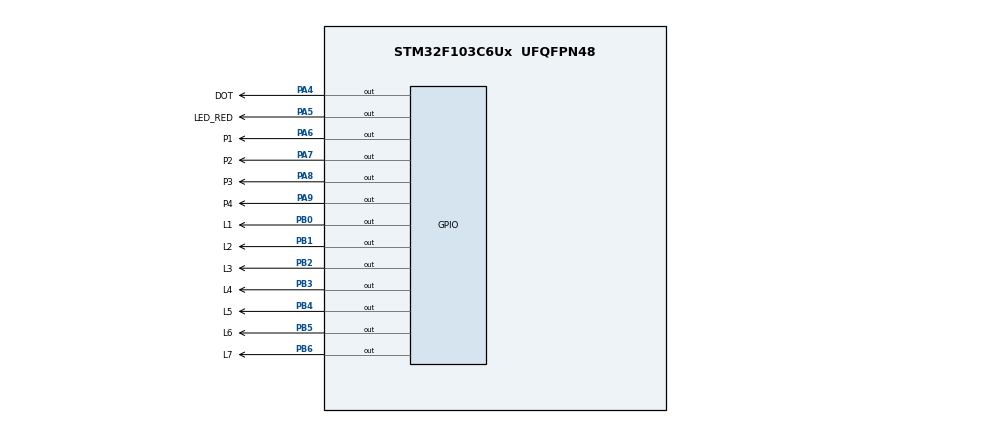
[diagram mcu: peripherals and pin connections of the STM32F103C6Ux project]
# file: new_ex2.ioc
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Mcu.Family=STM32F1
Mcu.Name=STM32F103C6Ux
Mcu.Package=UFQFPN48
NVIC.PriorityGroup=NVIC_PRIORITYGROUP_4
NVIC.TIM2_IRQn=true\:0\:0\:false\:false\:true\:true\:true
PA4.GPIO_Label=DOT
PA4.Signal=GPIO_Output
PA5.GPIO_Label=LED_RED
PA5.Signal=GPIO_Output
PA6.GPIO_Label=P1
PA6.Signal=GPIO_Output
PA7.GPIO_Label=P2
PA7.Signal=GPIO_Output
PA8.GPIO_Label=P3
PA8.Signal=GPIO_Output
PA9.GPIO_Label=P4
PA9.Signal=GPIO_Output
PB0.GPIO_Label=L1
PB0.Signal=GPIO_Output
PB1.GPIO_Label=L2
PB1.Signal=GPIO_Output
PB2.GPIO_Label=L3
PB2.Signal=GPIO_Output
PB3.GPIO_Label=L4
PB3.Signal=GPIO_Output
PB4.GPIO_Label=L5
PB4.Signal=GPIO_Output
PB5.GPIO_Label=L6
PB5.Signal=GPIO_Output
PB6.GPIO_Label=L7
PB6.Signal=GPIO_Output
ProjectManager.HeapSize=0x200
ProjectManager.StackSize=0x400
ProjectManager.TargetToolchain=STM32CubeIDE
RCC.APB1Freq_Value=8000000
RCC.APB2Freq_Value=8000000
TIM2.Period=9
TIM2.Prescaler=7999
VP_SYS_VS_ND.Mode=No_Debug
VP_TIM2_VS_ClockSourceINT.Mode=Internal
board=custom

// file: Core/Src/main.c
/* USER CODE BEGIN Header */
/**
  ******************************************************************************
  * @file           : main.c
  * @brief          : Main program body
  ******************************************************************************
  * @attention
  *
  * <h2><center>&copy; Copyright (c) 2022 STMicroelectronics.
  * All rights reserved.</center></h2>
  *
  * This software component is licensed by ST under BSD 3-Clause license,
  * the "License"; You may not use this file except in compliance with the
  * License. You may obtain a copy of the License at:
  *                        opensource.org/licenses/BSD-3-Clause
  *
  ******************************************************************************
  */
/* USER CODE END Header */
#include "main.h"

/* USER CODE BEGIN Includes */
#include "software_timer.h"
/* USER CODE END Includes */

TIM_HandleTypeDef htim2;

void SystemClock_Config(void);
static void MX_GPIO_Init(void);
static void MX_TIM2_Init(void);

/* USER CODE BEGIN 0 */
void display7SEG(int num){
  	  HAL_GPIO_WritePin( L1_GPIO_Port , L1_Pin ,GPIO_PIN_SET );
  	  HAL_GPIO_WritePin( L2_GPIO_Port , L2_Pin ,GPIO_PIN_SET );
  	  HAL_GPIO_WritePin( L3_GPIO_Port , L3_Pin ,GPIO_PIN_SET );
  	  HAL_GPIO_WritePin( L4_GPIO_Port , L4_Pin ,GPIO_PIN_SET );
  	  HAL_GPIO_WritePin( L5_GPIO_Port , L5_Pin ,GPIO_PIN_SET );
  	  HAL_GPIO_WritePin( L6_GPIO_Port , L6_Pin ,GPIO_PIN_SET );
  	  HAL_GPIO_WritePin( L7_GPIO_Port , L7_Pin ,GPIO_PIN_SET );
  	  if(num<=0){
  		  HAL_GPIO_WritePin( L1_GPIO_Port , L1_Pin ,GPIO_PIN_RESET );
  		  HAL_GPIO_WritePin( L2_GPIO_Port , L2_Pin ,GPIO_PIN_RESET );
  		  HAL_GPIO_WritePin( L3_GPIO_Port , L3_Pin ,GPIO_PIN_RESET );
  		  HAL_GPIO_WritePin( L4_GPIO_Port , L4_Pin ,GPIO_PIN_RESET );
  		  HAL_GPIO_WritePin( L5_GPIO_Port , L5_Pin ,GPIO_PIN_RESET );
  		  HAL_GPIO_WritePin( L6_GPIO_Port , L6_Pin ,GPIO_PIN_RESET );
  	  }
  	  else if(num==1){
  		  HAL_GPIO_WritePin( L2_GPIO_Port , L2_Pin ,GPIO_PIN_RESET );
  		  HAL_GPIO_WritePin( L3_GPIO_Port , L3_Pin ,GPIO_PIN_RESET );
  	  }
  	  else if(num==2){
  		  HAL_GPIO_WritePin( L1_GPIO_Port , L1_Pin ,GPIO_PIN_RESET );
  		  HAL_GPIO_WritePin( L2_GPIO_Port , L2_Pin ,GPIO_PIN_RESET );
  		  HAL_GPIO_WritePin( L4_GPIO_Port , L4_Pin ,GPIO_PIN_RESET );
  		  HAL_GPIO_WritePin( L5_GPIO_Port , L5_Pin ,GPIO_PIN_RESET );
  		  HAL_GPIO_WritePin( L7_GPIO_Port , L7_Pin ,GPIO_PIN_RESET );
  	  }
  	  else if(num==3){
  		  HAL_GPIO_WritePin( L1_GPIO_Port , L1_Pin ,GPIO_PIN_RESET );
  		  HAL_GPIO_WritePin( L2_GPIO_Port , L2_Pin ,GPIO_PIN_RESET );
  		  HAL_GPIO_WritePin( L3_GPIO_Port , L3_Pin ,GPIO_PIN_RESET );
  		  HAL_GPIO_WritePin( L4_GPIO_Port , L4_Pin ,GPIO_PIN_RESET );
  		  HAL_GPIO_WritePin( L7_GPIO_Port , L7_Pin ,GPIO_PIN_RESET );
  	  }
  	  else if(num==4){
  		  HAL_GPIO_WritePin( L2_GPIO_Port , L2_Pin ,GPIO_PIN_RESET );
  		  HAL_GPIO_WritePin( L3_GPIO_Port , L3_Pin ,GPIO_PIN_RESET );
  		  HAL_GPIO_WritePin( L6_GPIO_Port , L6_Pin ,GPIO_PIN_RESET );
  		  HAL_GPIO_WritePin( L7_GPIO_Port , L7_Pin ,GPIO_PIN_RESET );
  	  }
  	  else if(num==5){
  		  HAL_GPIO_WritePin( L1_GPIO_Port , L1_Pin ,GPIO_PIN_RESET );
  		  HAL_GPIO_WritePin( L3_GPIO_Port , L3_Pin ,GPIO_PIN_RESET );
  		  HAL_GPIO_WritePin( L4_GPIO_Port , L4_Pin ,GPIO_PIN_RESET );
  		  HAL_GPIO_WritePin( L6_GPIO_Port , L6_Pin ,GPIO_PIN_RESET );
  		  HAL_GPIO_WritePin( L7_GPIO_Port , L7_Pin ,GPIO_PIN_RESET );
  	  }
  	  else if(num==6){
  		  HAL_GPIO_WritePin( L1_GPIO_Port , L1_Pin ,GPIO_PIN_RESET );
  		  HAL_GPIO_WritePin( L3_GPIO_Port , L3_Pin ,GPIO_PIN_RESET );
  		  HAL_GPIO_WritePin( L4_GPIO_Port , L4_Pin ,GPIO_PIN_RESET );
  		  HAL_GPIO_WritePin( L5_GPIO_Port , L5_Pin ,GPIO_PIN_RESET );
  		  HAL_GPIO_WritePin( L6_GPIO_Port , L6_Pin ,GPIO_PIN_RESET );
  		  HAL_GPIO_WritePin( L7_GPIO_Port , L7_Pin ,GPIO_PIN_RESET );
  	  }
  	  else if(num==7){
  		  HAL_GPIO_WritePin( L1_GPIO_Port , L1_Pin ,GPIO_PIN_RESET );
  		  HAL_GPIO_WritePin( L2_GPIO_Port , L2_Pin ,GPIO_PIN_RESET );
  		  HAL_GPIO_WritePin( L3_GPIO_Port , L3_Pin ,GPIO_PIN_RESET );
  	  }
  	  else if(num==8){
  		  HAL_GPIO_WritePin( L1_GPIO_Port , L1_Pin ,GPIO_PIN_RESET );
  		  HAL_GPIO_WritePin( L2_GPIO_Port , L2_Pin ,GPIO_PIN_RESET );
  		  HAL_GPIO_WritePin( L3_GPIO_Port , L3_Pin ,GPIO_PIN_RESET );
  		  HAL_GPIO_WritePin( L4_GPIO_Port , L4_Pin ,GPIO_PIN_RESET );
  		  HAL_GPIO_WritePin( L5_GPIO_Port , L5_Pin ,GPIO_PIN_RESET );
  		  HAL_GPIO_WritePin( L6_GPIO_Port , L6_Pin ,GPIO_PIN_RESET );
  		  HAL_GPIO_WritePin( L7_GPIO_Port , L7_Pin ,GPIO_PIN_RESET );
  	  }
  	  else if(num==9){
  		  HAL_GPIO_WritePin( L1_GPIO_Port , L1_Pin ,GPIO_PIN_RESET );
  		  HAL_GPIO_WritePin( L2_GPIO_Port , L2_Pin ,GPIO_PIN_RESET );
  		  HAL_GPIO_WritePin( L3_GPIO_Port , L3_Pin ,GPIO_PIN_RESET );
  		  HAL_GPIO_WritePin( L4_GPIO_Port , L4_Pin ,GPIO_PIN_RESET );
  		  HAL_GPIO_WritePin( L6_GPIO_Port , L6_Pin ,GPIO_PIN_RESET );
  		  HAL_GPIO_WritePin( L7_GPIO_Port , L7_Pin ,GPIO_PIN_RESET );
  	  }
    }
/* USER CODE END 0 */

int main(void)
{

  /* MCU Configuration--------------------------------------------------------*/

  /* Reset of all peripherals, Initializes the Flash interface and the Systick. */
  HAL_Init();

  /* Configure the system clock */
  SystemClock_Config();

  /* Initialize all configured peripherals */
  MX_GPIO_Init();
  MX_TIM2_Init();
  /* USER CODE BEGIN 2 */
  HAL_TIM_Base_Start_IT (&htim2);
  /* USER CODE END 2 */

  /* Infinite loop */
  /* USER CODE BEGIN WHILE */
    int status = 0;
    HAL_GPIO_WritePin(LED_RED_GPIO_Port, LED_RED_Pin, GPIO_PIN_SET);
    HAL_GPIO_WritePin(DOT_GPIO_Port, DOT_Pin, GPIO_PIN_SET);
    HAL_GPIO_WritePin(P1_GPIO_Port, P1_Pin, GPIO_PIN_SET);
    HAL_GPIO_WritePin(P2_GPIO_Port, P2_Pin, GPIO_PIN_SET);
    HAL_GPIO_WritePin(P3_GPIO_Port, P3_Pin, GPIO_PIN_SET);
    HAL_GPIO_WritePin(P4_GPIO_Port, P4_Pin, GPIO_PIN_SET);

    setTimer1(50);
    setTimer2(100);
    while (1)
    {
  	  /* USER CODE BEGIN 3 */
  	  if(timer1_flag == 1){
  		  setTimer1(50);
  		  HAL_GPIO_TogglePin(LED_RED_GPIO_Port, LED_RED_Pin);
  		  if(status == 0){
  			  HAL_GPIO_WritePin(P4_GPIO_Port, P4_Pin, GPIO_PIN_SET);
  			  display7SEG(1);
  			  HAL_GPIO_WritePin(P1_GPIO_Port, P1_Pin, GPIO_PIN_RESET);
  		  }
  		  else if(status == 1){
  			  HAL_GPIO_WritePin(P1_GPIO_Port, P1_Pin, GPIO_PIN_SET);
  			  display7SEG(2);
  			  HAL_GPIO_WritePin(P2_GPIO_Port, P2_Pin, GPIO_PIN_RESET);
  		  }
  		  else if(status == 2){
  			  HAL_GPIO_WritePin(P2_GPIO_Port, P2_Pin, GPIO_PIN_SET);
  			  display7SEG(3);
  			  HAL_GPIO_WritePin(P3_GPIO_Port, P3_Pin, GPIO_PIN_RESET);
  		  }
  		  else if(status == 3){
  			  HAL_GPIO_WritePin(P3_GPIO_Port, P3_Pin, GPIO_PIN_SET);
  			  display7SEG(0);
  			  HAL_GPIO_WritePin(P4_GPIO_Port, P4_Pin, GPIO_PIN_RESET);
  		  }
  		  status++;
  		  if(status > 3)
  			  	  status = 0;

  	  }
  	  if(timer2_flag == 1){
  		  setTimer2(100);
  		  HAL_GPIO_TogglePin(DOT_GPIO_Port, DOT_Pin);
  	  }
  	  /* USER CODE END 3 */
    }
  /* USER CODE END 3 */
}

void SystemClock_Config(void)
{
  RCC_OscInitTypeDef RCC_OscInitStruct = {0};
  RCC_ClkInitTypeDef RCC_ClkInitStruct = {0};

  /** Initializes the RCC Oscillators according to the specified parameters
  * in the RCC_OscInitTypeDef structure.
  */
  RCC_OscInitStruct.OscillatorType = RCC_OSCILLATORTYPE_HSI;
  RCC_OscInitStruct.HSIState = RCC_HSI_ON;
  RCC_OscInitStruct.HSICalibrationValue = RCC_HSICALIBRATION_DEFAULT;
  RCC_OscInitStruct.PLL.PLLState = RCC_PLL_NONE;
  if (HAL_RCC_OscConfig(&RCC_OscInitStruct) != HAL_OK)
  {
    Error_Handler();
  }
  /** Initializes the CPU, AHB and APB buses clocks
  */
  RCC_ClkInitStruct.ClockType = RCC_CLOCKTYPE_HCLK|RCC_CLOCKTYPE_SYSCLK
                              |RCC_CLOCKTYPE_PCLK1|RCC_CLOCKTYPE_PCLK2;
  RCC_ClkInitStruct.SYSCLKSource = RCC_SYSCLKSOURCE_HSI;
  RCC_ClkInitStruct.AHBCLKDivider = RCC_SYSCLK_DIV1;
  RCC_ClkInitStruct.APB1CLKDivider = RCC_HCLK_DIV1;
  RCC_ClkInitStruct.APB2CLKDivider = RCC_HCLK_DIV1;

  if (HAL_RCC_ClockConfig(&RCC_ClkInitStruct, FLASH_LATENCY_0) != HAL_OK)
  {
    Error_Handler();
  }
}

static void MX_TIM2_Init(void)
{

  TIM_ClockConfigTypeDef sClockSourceConfig = {0};
  TIM_MasterConfigTypeDef sMasterConfig = {0};

  htim2.Instance = TIM2;
  htim2.Init.Prescaler = 7999;
  htim2.Init.CounterMode = TIM_COUNTERMODE_UP;
  htim2.Init.Period = 9;
  htim2.Init.ClockDivision = TIM_CLOCKDIVISION_DIV1;
  htim2.Init.AutoReloadPreload = TIM_AUTORELOAD_PRELOAD_DISABLE;
  if (HAL_TIM_Base_Init(&htim2) != HAL_OK)
  {
    Error_Handler();
  }
  sClockSourceConfig.ClockSource = TIM_CLOCKSOURCE_INTERNAL;
  if (HAL_TIM_ConfigClockSource(&htim2, &sClockSourceConfig) != HAL_OK)
  {
    Error_Handler();
  }
  sMasterConfig.MasterOutputTrigger = TIM_TRGO_RESET;
  sMasterConfig.MasterSlaveMode = TIM_MASTERSLAVEMODE_DISABLE;
  if (HAL_TIMEx_MasterConfigSynchronization(&htim2, &sMasterConfig) != HAL_OK)
  {
    Error_Handler();
  }

}

static void MX_GPIO_Init(void)
{
  GPIO_InitTypeDef GPIO_InitStruct = {0};

  /* GPIO Ports Clock Enable */
  __HAL_RCC_GPIOA_CLK_ENABLE();
  __HAL_RCC_GPIOB_CLK_ENABLE();

  /*Configure GPIO pin Output Level */
  HAL_GPIO_WritePin(GPIOA, DOT_Pin|LED_RED_Pin|P1_Pin|P2_Pin
                          |P3_Pin|P4_Pin, GPIO_PIN_RESET);

  /*Configure GPIO pin Output Level */
  HAL_GPIO_WritePin(GPIOB, L1_Pin|L2_Pin|L3_Pin|L4_Pin
                          |L5_Pin|L6_Pin|L7_Pin, GPIO_PIN_RESET);

  /*Configure GPIO pins : DOT_Pin LED_RED_Pin P1_Pin P2_Pin
                           P3_Pin P4_Pin */
  GPIO_InitStruct.Pin = DOT_Pin|LED_RED_Pin|P1_Pin|P2_Pin
                          |P3_Pin|P4_Pin;
  GPIO_InitStruct.Mode = GPIO_MODE_OUTPUT_PP;
  GPIO_InitStruct.Pull = GPIO_NOPULL;
  GPIO_InitStruct.Speed = GPIO_SPEED_FREQ_LOW;
  HAL_GPIO_Init(GPIOA, &GPIO_InitStruct);

  /*Configure GPIO pins : L1_Pin L2_Pin L3_Pin L4_Pin
                           L5_Pin L6_Pin L7_Pin */
  GPIO_InitStruct.Pin = L1_Pin|L2_Pin|L3_Pin|L4_Pin
                          |L5_Pin|L6_Pin|L7_Pin;
  GPIO_InitStruct.Mode = GPIO_MODE_OUTPUT_PP;
  GPIO_InitStruct.Pull = GPIO_NOPULL;
  GPIO_InitStruct.Speed = GPIO_SPEED_FREQ_LOW;
  HAL_GPIO_Init(GPIOB, &GPIO_InitStruct);

}

/* USER CODE BEGIN 4 */
void HAL_TIM_PeriodElapsedCallback ( TIM_HandleTypeDef* htim )
{
	timerRun();
}
/* USER CODE END 4 */

void Error_Handler(void)
{
  __disable_irq();
  while (1)
  {
  }
}

/************************ (C) COPYRIGHT STMicroelectronics *****END OF FILE****/
